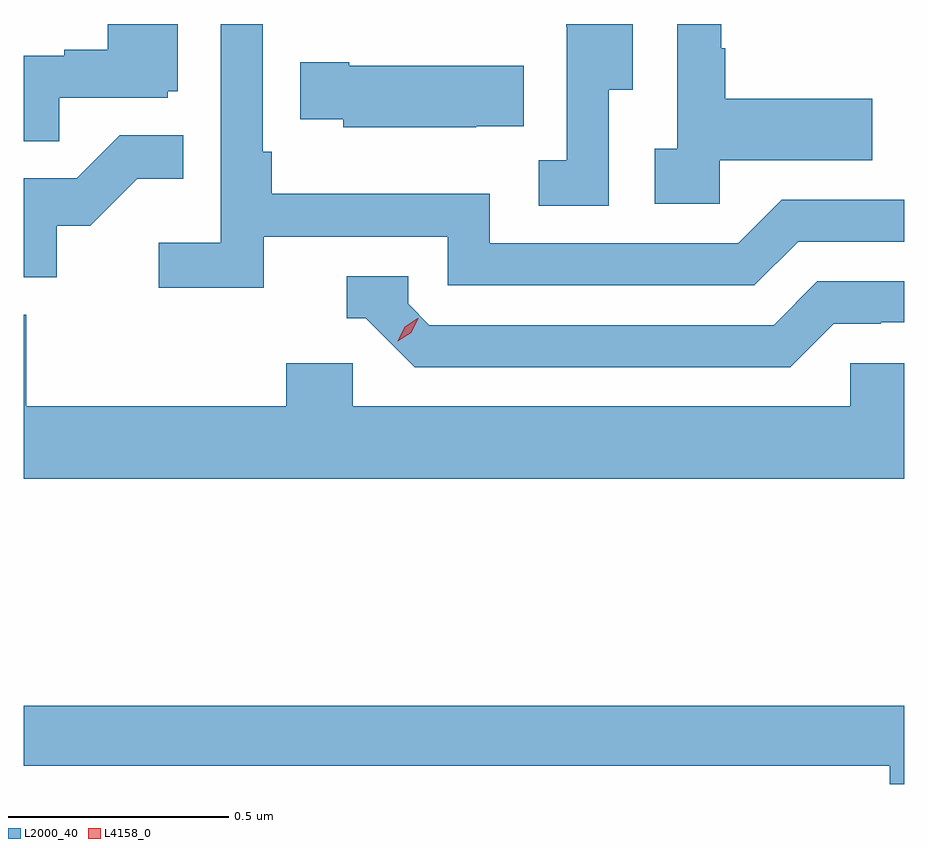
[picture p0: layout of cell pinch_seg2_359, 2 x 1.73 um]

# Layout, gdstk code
import gdstk
lib = gdstk.Library(unit=1e-6, precision=1e-09)
def P(c, l, *ps):  # polygons
    for p in ps: c.add(gdstk.Polygon(p, *l))
L2000_40 = (2000, 40)
L4158_0 = (4158, 0)

pinch_seg2_359 = lib.new_cell('pinch_seg2_359')
P(pinch_seg2_359, L2000_40, [(970.448,626.874),(970.866,626.874),(970.866,626.763),(971.563,626.763),(971.662,626.862),(971.903,626.862),(971.903,626.958),(971.625,626.958),(971.526,626.859),(970.962,626.859),(970.962,626.971),(970.466,626.971),(970.466,627.067),(970.446,627.067),(970.446,627.357),(970.35,627.357),(970.35,626.86),(970.209,626.86),(970.209,626.758),(970.448,626.758)],
  [(969.983,627.189),(970.23,627.189),(970.23,627.204),(970.252,627.204),(970.252,627.357),(970.094,627.357),(970.094,627.298),(969.995,627.298),(969.995,627.285),(969.903,627.285),(969.903,627.091),(969.983,627.091)],
  [(971.484,627.047),(971.831,627.047),(971.831,627.187),(971.497,627.187),(971.497,627.302),(971.487,627.302),(971.487,627.357),(971.388,627.357),(971.388,627.074),(971.337,627.074),(971.337,626.949),(971.484,626.949)],
  [(971.232,627.208),(971.287,627.208),(971.287,627.357),(971.135,627.357),(971.135,627.351),(971.136,627.351),(971.136,627.047),(971.073,627.047),(971.073,626.944),(971.232,626.944)],
  [(970.931,627.125),(971.039,627.125),(971.039,627.262),(970.642,627.262),(970.642,627.27),(970.531,627.27),(970.531,627.14),(970.629,627.14),(970.629,627.122),(970.931,627.122)],
  [(969.978,626.898),(970.054,626.898),(970.161,627.005),(970.265,627.005),(970.265,627.104),(970.121,627.104),(970.023,627.006),(969.903,627.006),(969.903,626.781),(969.978,626.781)],
  [(971.743,626.676),(971.85,626.676),(971.85,626.679),(971.903,626.679),(971.903,626.772),(971.706,626.772),(971.607,626.673),(970.824,626.673),(970.776,626.721),(970.776,626.784),(970.637,626.784),(970.637,626.688),(970.68,626.688),(970.791,626.577),(971.644,626.577)],
  [(970.499,626.586),(970.499,626.488),(969.908,626.488),(969.908,626.696),(969.903,626.696),(969.903,626.324),(971.903,626.324),(971.903,626.586),(971.781,626.586),(971.781,626.488),(970.65,626.488),(970.65,626.586)],
  [(971.903,625.808),(969.903,625.808),(969.903,625.672),(971.87,625.672),(971.87,625.63),(971.903,625.63)])
P(pinch_seg2_359, L4158_0, [(970.752,626.636),(970.752,626.636),(970.768,626.669),(970.798,626.688),(970.799,626.688),(970.799,626.688),(970.783,626.655),(970.752,626.636)])

lib.write_gds('pinch_seg2_359.gds')
